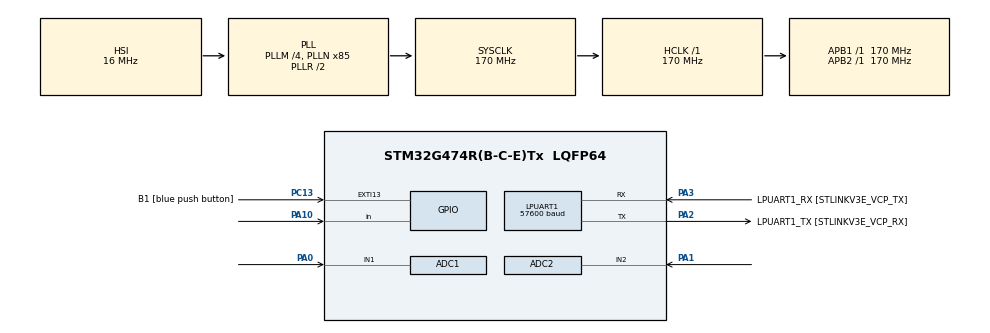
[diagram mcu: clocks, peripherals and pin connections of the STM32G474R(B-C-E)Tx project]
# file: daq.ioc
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ADC1.Channel-6\#ChannelRegularConversion=ADC_CHANNEL_1
ADC1.ContinuousConvMode=ENABLE
ADC1.DMAAccessModeView=ENABLE
ADC1.DMAContinuousRequests=ENABLE
ADC1.Mode=ADC_DUALMODE_REGSIMULT
ADC1.NbrOfConversionFlag=1
ADC1.OffsetNumber-6\#ChannelRegularConversion=ADC_OFFSET_NONE
ADC1.Rank-6\#ChannelRegularConversion=1
ADC1.SamplingTime-6\#ChannelRegularConversion=ADC_SAMPLETIME_2CYCLES_5
ADC1.TwoSamplingDelay=ADC_TWOSAMPLINGDELAY_1CYCLE
ADC1.master=1
ADC2.Channel-7\#ChannelRegularConversion=ADC_CHANNEL_2
ADC2.DMAAccessModeView=ENABLE
ADC2.Mode=ADC_DUALMODE_REGSIMULT
ADC2.NbrOfConversionFlag=1
ADC2.OffsetNumber-7\#ChannelRegularConversion=ADC_OFFSET_NONE
ADC2.Rank-7\#ChannelRegularConversion=1
ADC2.SamplingTime-7\#ChannelRegularConversion=ADC_SAMPLETIME_2CYCLES_5
Dma.ADC1.0.Direction=DMA_PERIPH_TO_MEMORY
Dma.ADC1.0.EventEnable=ENABLE
Dma.ADC1.0.Instance=DMA1_Channel1
Dma.ADC1.0.MemDataAlignment=DMA_MDATAALIGN_WORD
Dma.ADC1.0.MemInc=DMA_MINC_ENABLE
Dma.ADC1.0.Mode=DMA_CIRCULAR
Dma.ADC1.0.PeriphDataAlignment=DMA_PDATAALIGN_WORD
Dma.ADC1.0.PeriphInc=DMA_PINC_DISABLE
Dma.ADC1.0.Polarity=HAL_DMAMUX_REQ_GEN_RISING
Dma.ADC1.0.Priority=DMA_PRIORITY_LOW
Dma.ADC1.0.RequestNumber=1
Dma.ADC1.0.SignalID=NONE
Dma.ADC1.0.SyncEnable=DISABLE
Dma.ADC1.0.SyncPolarity=HAL_DMAMUX_SYNC_NO_EVENT
Dma.ADC1.0.SyncRequestNumber=1
Dma.ADC1.0.SyncSignalID=NONE
Dma.DMA_GENERATOR0.1.Direction=DMA_PERIPH_TO_MEMORY
Dma.DMA_GENERATOR0.1.EventEnable=DISABLE
Dma.DMA_GENERATOR0.1.Instance=DMA1_Channel2
Dma.DMA_GENERATOR0.1.MemDataAlignment=DMA_MDATAALIGN_BYTE
Dma.DMA_GENERATOR0.1.MemInc=DMA_MINC_ENABLE
Dma.DMA_GENERATOR0.1.Mode=DMA_NORMAL
Dma.DMA_GENERATOR0.1.PeriphDataAlignment=DMA_PDATAALIGN_BYTE
Dma.DMA_GENERATOR0.1.PeriphInc=DMA_PINC_DISABLE
Dma.DMA_GENERATOR0.1.Polarity=HAL_DMAMUX_REQ_GEN_RISING
Dma.DMA_GENERATOR0.1.Priority=DMA_PRIORITY_LOW
Dma.DMA_GENERATOR0.1.RequestNumber=1
Dma.DMA_GENERATOR0.1.SignalID=HAL_DMAMUX1_REQ_GEN_DMAMUX1_CH0_EVT
Dma.DMA_GENERATOR0.1.SyncEnable=DISABLE
Dma.DMA_GENERATOR0.1.SyncPolarity=HAL_DMAMUX_SYNC_NO_EVENT
Dma.DMA_GENERATOR0.1.SyncRequestNumber=1
Dma.DMA_GENERATOR0.1.SyncSignalID=NONE
Dma.Request0=ADC1
Dma.Request1=DMA_GENERATOR0
LPUART1.BaudRate=57600
LPUART1.Parity=UART_PARITY_EVEN
LPUART1.WordLength=UART_WORDLENGTH_8B
Mcu.Family=STM32G4
Mcu.Name=STM32G474R(B-C-E)Tx
Mcu.Package=LQFP64
NVIC.DMA1_Channel1_IRQn=true\:0\:0\:false\:false\:true\:false\:true\:true
NVIC.DMAMUX_OVR_IRQn=true\:0\:0\:false\:false\:true\:false\:true\:true
NVIC.EXTI15_10_IRQn=true\:0\:0\:false\:false\:true\:true\:true\:true
NVIC.PriorityGroup=NVIC_PRIORITYGROUP_4
PA0.Mode=IN1-Single-Ended
PA0.Signal=ADC1_IN1
PA1.Mode=IN2-Single-Ended
PA1.Signal=ADC2_IN2
PA10.Signal=GPIO_Input
PA2.GPIO_Label=LPUART1_TX [STLINKV3E_VCP_RX]
PA2.Mode=Asynchronous
PA2.Signal=LPUART1_TX
PA3.GPIO_Label=LPUART1_RX [STLINKV3E_VCP_TX]
PA3.Mode=Asynchronous
PA3.Signal=LPUART1_RX
PC13.GPIO_Label=B1 [blue push button]
PC13.Signal=GPXTI13
ProjectManager.HeapSize=0x200
ProjectManager.StackSize=0x400
ProjectManager.TargetToolchain=STM32CubeIDE
RCC.ADC12Freq_Value=170000000
RCC.ADC345Freq_Value=170000000
RCC.AHBFreq_Value=170000000
RCC.APB1Freq_Value=170000000
RCC.APB1TimFreq_Value=170000000
RCC.APB2Freq_Value=170000000
RCC.APB2TimFreq_Value=170000000
RCC.CortexFreq_Value=170000000
RCC.EXTERNAL_CLOCK_VALUE=12288000
RCC.HCLKFreq_Value=170000000
RCC.HSE_VALUE=24000000
RCC.HSI48_VALUE=48000000
RCC.HSI_VALUE=16000000
RCC.LSE_VALUE=32768
RCC.PLLM=RCC_PLLM_DIV4
RCC.PLLN=85
RCC.RTCClockSelection=RCC_RTCCLKSOURCE_LSE
RCC.SYSCLKFreq_VALUE=170000000
RCC.SYSCLKSource=RCC_SYSCLKSOURCE_PLLCLK
RCC.USBFreq_Value=170000000
RCC.VCOOutputFreq_Value=340000000
VP_SYS_VS_DBSignals.Mode=DisableDeadBatterySignals
board=NUCLEO-G474RE

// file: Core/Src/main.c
/* USER CODE BEGIN Header */
/**
  ******************************************************************************
  * @file           : main.c
  * @brief          : Main program body
  ******************************************************************************
  * @attention
  *
  * Copyright (c) 2024 STMicroelectronics.
  * All rights reserved.
  *
  * This software is licensed under terms that can be found in the LICENSE file
  * in the root directory of this software component.
  * If no LICENSE file comes with this software, it is provided AS-IS.
  *
  ******************************************************************************
  */
/* USER CODE END Header */
#include "main.h"
#include "adc.h"
#include "dma.h"
#include "usart.h"
#include "gpio.h"

/* USER CODE BEGIN Includes */
#include <string.h>
#include <stdbool.h>

#include "plotter.h"
/* USER CODE END Includes */

/* USER CODE BEGIN PD */
#define POINTS_N 2048
#define POINTS_STORE_MUL 8
#define POINTS_STORE_N (POINTS_STORE_MUL*POINTS_N)
#define POINTS_STORE_TIMESTAMPS_N (POINTS_STORE_MUL*2+1)
/* USER CODE END PD */

/* USER CODE BEGIN PV */
uint32_t adcs_raw[POINTS_N];
uint32_t acs[POINTS_N];

uint32_t points_store[POINTS_STORE_N];
size_t points_store_len = 0;
uint32_t points_store_timestamps[POINTS_STORE_TIMESTAMPS_N];
size_t points_store_timestamps_len = 0;
/* USER CODE END PV */

void SystemClock_Config(void);
/* USER CODE BEGIN PFP */
void HAL_ADC_ConvHalfCpltCallback(ADC_HandleTypeDef* hadc);
void HAL_ADC_ConvCpltCallback(ADC_HandleTypeDef* hadc);
/* USER CODE END PFP */

/* USER CODE BEGIN 0 */
bool adcs_half_complete = false;
bool adcs_complete = false;
uint32_t adcs_half_complete_time = 0;
uint32_t adcs_complete_time = 0;

void HAL_ADC_ConvHalfCpltCallback(ADC_HandleTypeDef *hadc) {
	adcs_half_complete = true;
	adcs_half_complete_time = plotter_get_time_us();
}

void HAL_ADC_ConvCpltCallback(ADC_HandleTypeDef *hadc) {
	adcs_complete = true;
	adcs_complete_time = plotter_get_time_us();
}

static void store_data() {
	uint32_t start = adcs_half_complete_time < adcs_complete_time ? POINTS_N / 2 : 0;
	uint32_t end_time = adcs_complete_time > adcs_half_complete_time ? adcs_complete_time : adcs_half_complete_time;

	if(points_store_timestamps_len < POINTS_STORE_TIMESTAMPS_N) {
		points_store_timestamps[points_store_timestamps_len++] = end_time;
	}

	for(int i = start; i < (POINTS_N/2); i++){
		//reading the value of the pin PA10 using bit operations
		//& 0x200, masks the 10th bit
		//>> 9, shifts the reg so that the value is converted to 0 or to 1
		if(((acs[i] & 0x200) >> 9) == 1){
			adcs_raw[i] = 0;
		}
	}

	if (points_store_len < POINTS_STORE_N) {
		memcpy(points_store+points_store_len, adcs_raw+start, (POINTS_N/2) * sizeof(uint32_t));
		points_store_len += POINTS_N / 2;
	}
}
static void send_points_store() {
	const char* names[2] = {"ADC1", "ADC2"};
	for(int i = 0; i < POINTS_STORE_MUL*2; i++) {
		uint32_t start_time = points_store_timestamps[i];
		uint32_t end_time = points_store_timestamps[i+1];

		plotter_send_2_interleaved_u16_signals_lerp_time(names, (uint16_t*)(points_store + i * (POINTS_N / 2)), POINTS_N / 2, start_time, end_time);
	}
}
/* USER CODE END 0 */

int main(void)
{

  /* MCU Configuration--------------------------------------------------------*/

  /* Reset of all peripherals, Initializes the Flash interface and the Systick. */
  HAL_Init();

  /* Configure the system clock */
  SystemClock_Config();

  /* USER CODE BEGIN SysInit */
	CoreDebug->DEMCR |= CoreDebug_DEMCR_TRCENA_Msk;
	DWT->CYCCNT = 0;
	DWT->CTRL |= DWT_CTRL_CYCCNTENA_Msk;

//  while(HAL_ADCEx_Calibration_Start(&hadc1, ADC_SINGLE_ENDED) != HAL_OK);
//  while(HAL_ADCEx_Calibration_Start(&hadc2, ADC_SINGLE_ENDED) != HAL_OK);
  /* USER CODE END SysInit */

  /* Initialize all configured peripherals */
  MX_GPIO_Init();
  MX_DMA_Init();
  MX_LPUART1_UART_Init();
  MX_ADC1_Init();
  MX_ADC2_Init();
  /* USER CODE BEGIN 2 */
	HAL_UART_Transmit(&hlpuart1, (uint8_t*)"#daq\n", 5, 1000);

	if (HAL_ADC_Start(&hadc2) != HAL_OK) {
	HAL_UART_Transmit(&hlpuart1, (uint8_t*)"#adc2_err\n", 9, 1000);
	}
	if (HAL_ADCEx_MultiModeStart_DMA(&hadc1, adcs_raw, POINTS_N) != HAL_OK) {
	HAL_UART_Transmit(&hlpuart1, (uint8_t*)"#adc1_err\n", 9, 1000);
	}
	points_store_timestamps[points_store_timestamps_len++] = plotter_get_time_us();

	HAL_DMA_Start(&hdma_dma_generator0, (uint32_t)GPIOA->IDR, (uint32_t)&acs, POINTS_N);
	HAL_DMAEx_EnableMuxRequestGenerator(&hdma_dma_generator0);
  /* USER CODE END 2 */

  /* Infinite loop */
  /* USER CODE BEGIN WHILE */
	while (plotter_get_time_us() < 3000000 && points_store_len < POINTS_STORE_N) {
		if(adcs_half_complete) {
			store_data();
			adcs_half_complete = false;
		}
		if(adcs_complete) {
			store_data();
			adcs_complete = false;
		}
	}
    /* USER CODE END WHILE */

    /* USER CODE BEGIN 3 */
	send_points_store();
  /* USER CODE END 3 */
}

void SystemClock_Config(void)
{
  RCC_OscInitTypeDef RCC_OscInitStruct = {0};
  RCC_ClkInitTypeDef RCC_ClkInitStruct = {0};

  /** Configure the main internal regulator output voltage
  */
  HAL_PWREx_ControlVoltageScaling(PWR_REGULATOR_VOLTAGE_SCALE1_BOOST);

  /** Initializes the RCC Oscillators according to the specified parameters
  * in the RCC_OscInitTypeDef structure.
  */
  RCC_OscInitStruct.OscillatorType = RCC_OSCILLATORTYPE_HSI;
  RCC_OscInitStruct.HSIState = RCC_HSI_ON;
  RCC_OscInitStruct.HSICalibrationValue = RCC_HSICALIBRATION_DEFAULT;
  RCC_OscInitStruct.PLL.PLLState = RCC_PLL_ON;
  RCC_OscInitStruct.PLL.PLLSource = RCC_PLLSOURCE_HSI;
  RCC_OscInitStruct.PLL.PLLM = RCC_PLLM_DIV4;
  RCC_OscInitStruct.PLL.PLLN = 85;
  RCC_OscInitStruct.PLL.PLLP = RCC_PLLP_DIV2;
  RCC_OscInitStruct.PLL.PLLQ = RCC_PLLQ_DIV2;
  RCC_OscInitStruct.PLL.PLLR = RCC_PLLR_DIV2;
  if (HAL_RCC_OscConfig(&RCC_OscInitStruct) != HAL_OK)
  {
    Error_Handler();
  }

  /** Initializes the CPU, AHB and APB buses clocks
  */
  RCC_ClkInitStruct.ClockType = RCC_CLOCKTYPE_HCLK|RCC_CLOCKTYPE_SYSCLK
                              |RCC_CLOCKTYPE_PCLK1|RCC_CLOCKTYPE_PCLK2;
  RCC_ClkInitStruct.SYSCLKSource = RCC_SYSCLKSOURCE_PLLCLK;
  RCC_ClkInitStruct.AHBCLKDivider = RCC_SYSCLK_DIV1;
  RCC_ClkInitStruct.APB1CLKDivider = RCC_HCLK_DIV1;
  RCC_ClkInitStruct.APB2CLKDivider = RCC_HCLK_DIV1;

  if (HAL_RCC_ClockConfig(&RCC_ClkInitStruct, FLASH_LATENCY_4) != HAL_OK)
  {
    Error_Handler();
  }
}

void Error_Handler(void)
{
  __disable_irq();
  while (1)
  {
  }
}
